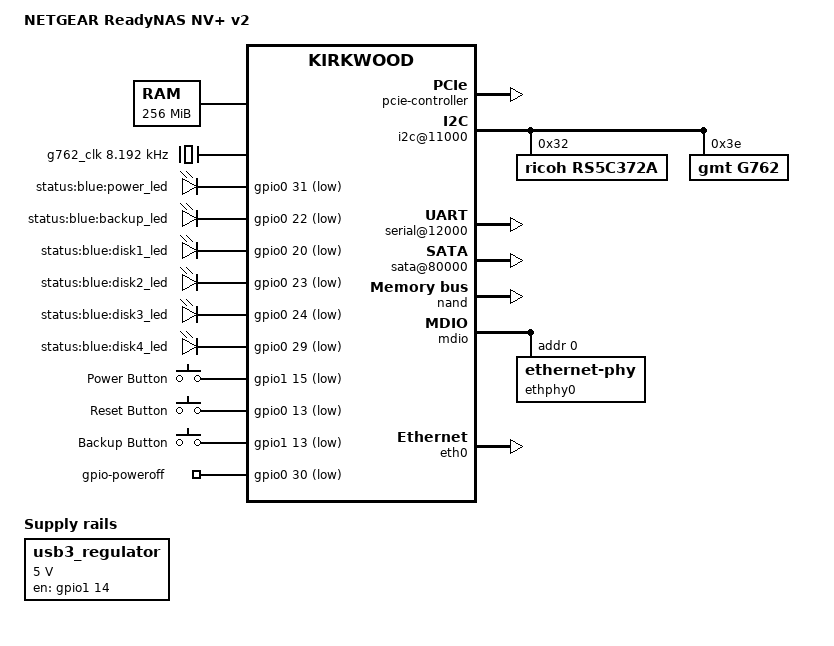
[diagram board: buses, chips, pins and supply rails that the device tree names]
/*
 * Device Tree file for NETGEAR ReadyNAS NV+ v2
 *
 * Copyright (C) 2013, Arnaud EBALARD <arno@natisbad.org>
 *
 * This program is free software; you can redistribute it and/or
 * modify it under the terms of the GNU General Public License
 * as published by the Free Software Foundation; either version
 * 2 of the License, or (at your option) any later version.
 */

/dts-v1/;

#include "kirkwood.dtsi"
#include "kirkwood-6282.dtsi"

/ {
	model = "NETGEAR ReadyNAS NV+ v2";
	compatible = "netgear,readynas-nv+-v2", "netgear,readynas", "marvell,kirkwood-88f6282", "marvell,kirkwood";

	memory { /* 256 MB */
		device_type = "memory";
		reg = <0x00000000 0x10000000>;
	};

	chosen {
		bootargs = "console=ttyS0,115200n8 earlyprintk";
	};

	mbus {
		pcie-controller {
			status = "okay";

			/* Connected to NEC uPD720200 USB 3.0 controller */
			pcie@1,0 {
				/* Port 0, Lane 0 */
				status = "okay";
			};
		};
	};

	ocp@f1000000 {
		pinctrl: pinctrl@10000 {
			pmx_button_power: pmx-button-power {
				marvell,pins = "mpp47";
				marvell,function = "gpio";
			};

			pmx_button_backup: pmx-button-backup {
				marvell,pins = "mpp45";
				marvell,function = "gpio";
			};

			pmx_button_reset: pmx-button-reset {
				marvell,pins = "mpp13";
				marvell,function = "gpio";
			};

			pmx_led_blue_power: pmx-led-blue-power {
				marvell,pins = "mpp31";
				marvell,function = "gpio";
			};

			pmx_led_blue_backup: pmx-led-blue-backup {
				marvell,pins = "mpp22";
				marvell,function = "gpio";
			};

			pmx_led_blue_disk1: pmx-led-blue-disk1 {
				marvell,pins = "mpp20";
				marvell,function = "gpio";
			};

			pmx_led_blue_disk2: pmx-led-blue-disk2 {
				marvell,pins = "mpp23";
				marvell,function = "gpio";
			};

			pmx_led_blue_disk3: pmx-led-blue-disk3 {
				marvell,pins = "mpp24";
				marvell,function = "gpio";
			};

			pmx_led_blue_disk4: pmx-led-blue-disk4 {
				marvell,pins = "mpp29";
				marvell,function = "gpio";
			};

			pmx_poweroff: pmx-poweroff {
				marvell,pins = "mpp30";
				marvell,function = "gpio";
			};
		};

		clocks {
		       g762_clk: g762-oscillator {
				 compatible = "fixed-clock";
				 #clock-cells = <0>;
				 clock-frequency = <8192>;
		       };
		};

		i2c@11000 {
			status = "okay";

			rs5c372a: rs5c372a@32 {
				compatible = "ricoh,rs5c372a";
				reg = <0x32>;
			};

			g762: g762@3e {
				compatible = "gmt,g762";
				reg = <0x3e>;
				clocks = <&g762_clk>; /* input clock */
				fan_gear_mode = <0>;
				fan_startv = <1>;
				pwm_polarity = <0>;
			};
		};

		serial@12000 {
			pinctrl-0 = <&pmx_uart0>;
			pinctrl-names = "default";
			status = "okay";
		};

		sata@80000 { /* Connected to Marvell 88SM4140 SATA port multiplier */
			status = "okay";
			nr-ports = <1>;
		};
	};

	gpio-leds {
		compatible = "gpio-leds";
		pinctrl-0 = < &pmx_led_blue_power &pmx_led_blue_backup
			      &pmx_led_blue_disk1 &pmx_led_blue_disk2
			      &pmx_led_blue_disk3 &pmx_led_blue_disk3 >;
		pinctrl-names = "default";

		power_led {
			label = "status:blue:power_led";
			gpios = <&gpio0 31 GPIO_ACTIVE_LOW>;
			linux,default-trigger = "default-on";
		};

		backup_led {
			label = "status:blue:backup_led";
			gpios = <&gpio0 22 GPIO_ACTIVE_LOW>;
		};

		disk1_led {
			label = "status:blue:disk1_led";
			gpios = <&gpio0 20 GPIO_ACTIVE_LOW>;
		};

		disk2_led {
			label = "status:blue:disk2_led";
			gpios = <&gpio0 23 GPIO_ACTIVE_LOW>;
		};

		disk3_led {
			label = "status:blue:disk3_led";
			gpios = <&gpio0 24 GPIO_ACTIVE_LOW>;
		};

		disk4_led {
			label = "status:blue:disk4_led";
			gpios = <&gpio0 29 GPIO_ACTIVE_LOW>;
		};
	};

	gpio-keys {
		compatible = "gpio-keys";
		pinctrl-0 = <&pmx_button_power &pmx_button_backup
			     &pmx_button_reset>;
		pinctrl-names = "default";

		power-button {
			label = "Power Button";
			linux,code = <KEY_POWER>;
			gpios = <&gpio1 15 GPIO_ACTIVE_LOW>;
		};

		reset-button {
			label = "Reset Button";
			linux,code = <KEY_RESTART>;
			gpios = <&gpio0 13 GPIO_ACTIVE_LOW>;
		};

		backup-button {
			label = "Backup Button";
			linux,code = <KEY_COPY>;
			gpios = <&gpio1 13 GPIO_ACTIVE_LOW>;
		};
	};

	gpio-poweroff {
		compatible = "gpio-poweroff";
		pinctrl-0 = <&pmx_poweroff>;
		pinctrl-names = "default";
		gpios = <&gpio0 30 GPIO_ACTIVE_LOW>;
	};

	regulators {
		compatible = "simple-bus";
		#address-cells = <1>;
		#size-cells = <0>;

		usb3_regulator: usb3-regulator {
			compatible = "regulator-fixed";
			reg = <1>;
			regulator-name = "USB 3.0 Power";
			regulator-min-microvolt = <5000000>;
			regulator-max-microvolt = <5000000>;
			enable-active-high;
			regulator-always-on;
			regulator-boot-on;
			gpio = <&gpio1 14 GPIO_ACTIVE_HIGH>;
		};
	};
};

&nand {
	status = "okay";

	partition@0 {
		label = "u-boot";
		reg = <0x0000000 0x180000>;
		read-only;
	};

	partition@180000 {
		label = "u-boot-env";
		reg = <0x180000 0x20000>;
	};

	partition@200000 {
		label = "uImage";
		reg = <0x0200000 0x600000>;
	};

	partition@800000 {
		label = "minirootfs";
		reg = <0x0800000 0x1000000>;
	};

	partition@1800000 {
		label = "jffs2";
		reg = <0x1800000 0x6800000>;
	};
};

&mdio {
	status = "okay";

	ethphy0: ethernet-phy@0 { /* Marvell 88E1318 */
		device_type = "ethernet-phy";
		reg = <0>;
	};
};

&eth0 {
	status = "okay";

	ethernet0-port@0 {
		phy-handle = <&ethphy0>;
	};
};
